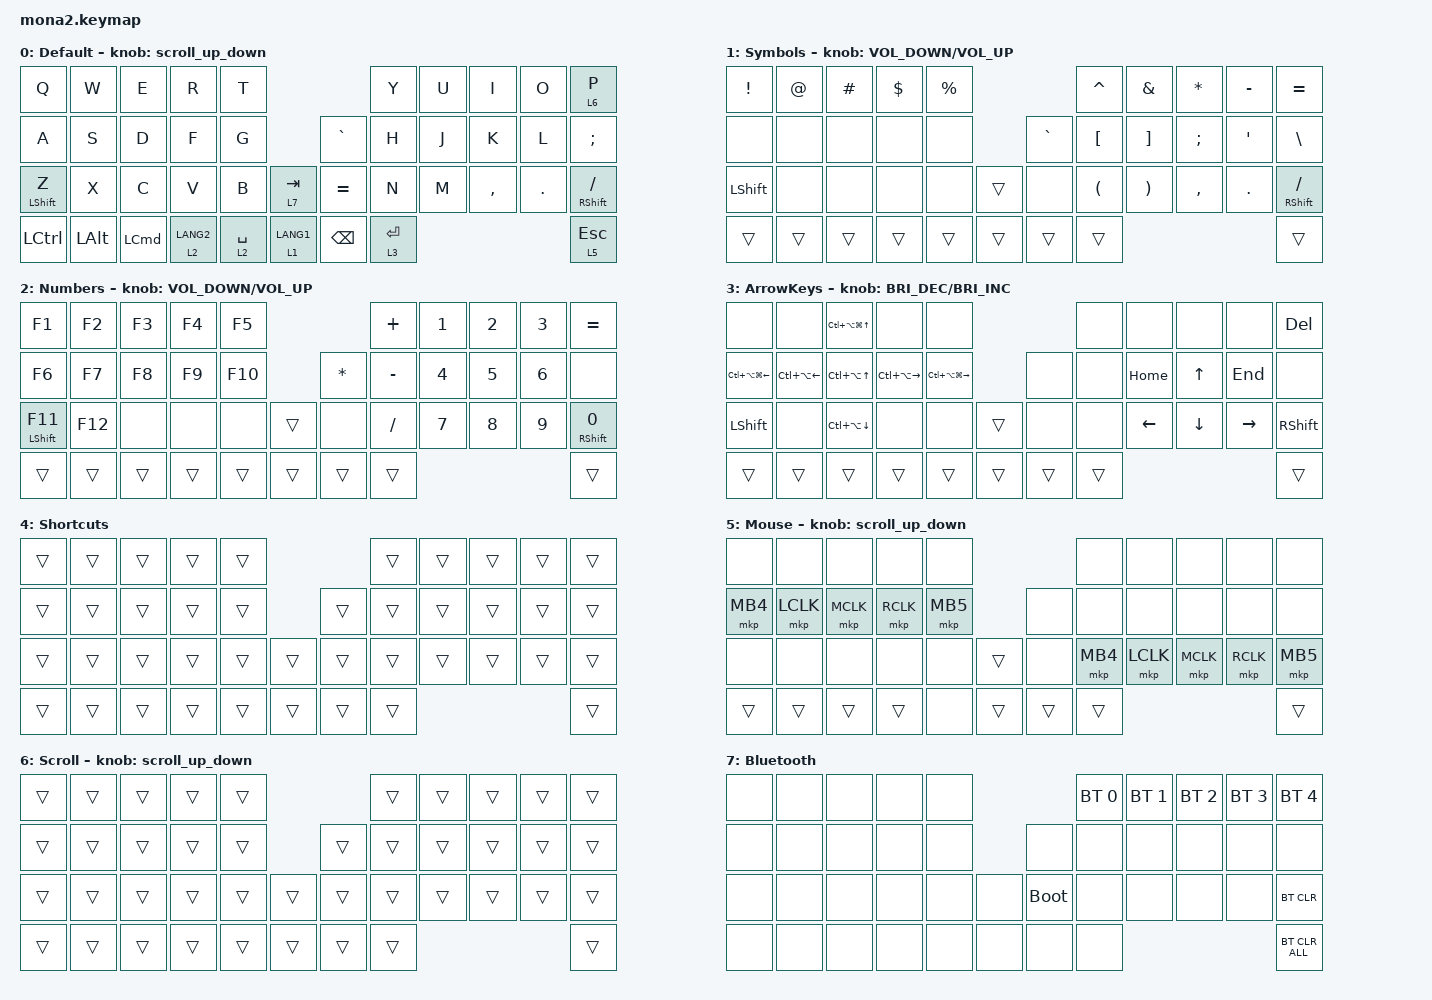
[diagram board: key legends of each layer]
#include <input/processors.dtsi>
#include <dt-bindings/zmk/input_transform.h>
#include <zephyr/dt-bindings/input/input-event-codes.h>
#include <behaviors.dtsi>
#include <dt-bindings/zmk/bt.h>
#include <dt-bindings/zmk/keys.h>
#include <dt-bindings/zmk/pointing.h>

#define ZMK_POINTING_DEFAULT_SCRL_VAL 100
#define MOUSE 5
#define SCROLL 6

&mt {
    flavor = "balanced";
    quick-tap-ms = <0>;
};

&lt {
    quick-tap-ms = <300>;
    flavor = "balanced";
};

// Auto Mouse Layer: トラックボール操作時に自動で Mouse レイヤーを有効化
&zip_temp_layer {
    excluded-positions = <
        10 11 12 13 14 // 左手 A,S,D,F,G → MB4, LCLK, MCLK, RCLK, MB5
        28 29 30 31 32 // 右手 N,M,COMMA,DOT,SLASH → MB4, LCLK, MCLK, RCLK, MB5
    >;
};

/ {
    combos { compatible = "zmk,combos"; };

    macros {
        to_layer_0: to_layer_0 {
            compatible = "zmk,behavior-macro-one-param";
            #binding-cells = <1>;
            bindings = <&to 0 &macro_param_1to1 &kp MACRO_PLACEHOLDER>;
            label = "TO_LAYER_0";
        };
    };

    behaviors {
        lt_to_layer_0: lt_to_layer_0 {
            compatible = "zmk,behavior-hold-tap";
            label = "LAYER_TAP_TO_0";
            bindings = <&mo>, <&to_layer_0>;

            #binding-cells = <2>;
            tapping-term-ms = <200>;
        };

        scroll_up_down: mouse_wheel_up_down {
            compatible = "zmk,behavior-sensor-rotate";
            #sensor-binding-cells = <0>;
            bindings = <&msc SCRL_DOWN>, <&msc SCRL_UP>;

            tap-ms = <20>;
        };

        scroll_right_left: mouse_wheel_right_left {
            compatible = "zmk,behavior-sensor-rotate";
            #sensor-binding-cells = <0>;
            bindings = <&msc SCRL_LEFT>, <&msc SCRL_RIGHT>;

            tap-ms = <20>;
        };
    };

    keymap {
        compatible = "zmk,keymap";

        Default {
            bindings = <
&kp Q             &kp W         &kp E             &kp R                   &kp T                                                            &kp Y        &kp U  &kp I      &kp O    &lt 6 P
&kp A             &kp S         &kp D             &kp F                   &kp G                                             &kp GRAVE      &kp H        &kp J  &kp K      &kp L    &kp SEMICOLON
&mt LEFT_SHIFT Z  &kp X         &kp C             &kp V                   &kp B                   &lt 7 TAB                 &kp EQUAL      &kp N        &kp M  &kp COMMA  &kp DOT  &mt RIGHT_SHIFT SLASH
&kp LCTRL         &kp LEFT_ALT  &kp LEFT_COMMAND  &lt_to_layer_0 2 LANG2  &lt_to_layer_0 2 SPACE  &lt_to_layer_0 1 LANG1    &kp BACKSPACE  &lt 3 ENTER                             &lt 5 ESCAPE
            >;

            sensor-bindings = <&scroll_up_down>;
        };

        Symbols {
            bindings = <
&kp EXCL    &kp AT  &kp HASH  &kp DLLR  &kp PRCNT                       &kp CARET  &kp AMPS  &kp ASTRK  &kp MINUS   &kp EQUAL
&none       &none   &none     &none     &none                &kp GRAVE  &kp LBKT   &kp RBKT  &kp SEMI   &kp SQT     &kp BSLH
&kp LSHIFT  &none   &none     &none     &none      &trans    &none      &kp LPAR   &kp RPAR  &kp COMMA  &kp PERIOD  &mt RIGHT_SHIFT FSLH
&trans      &trans  &trans    &trans    &trans     &trans    &trans     &trans                                      &trans
            >;

            sensor-bindings = <&inc_dec_kp C_VOLUME_DOWN C_VOL_UP>;
        };

        Numbers {
            bindings = <
&kp F1          &kp F2   &kp F3  &kp F4  &kp F5                        &kp PLUS   &kp N1  &kp N2  &kp N3  &kp EQUAL
&kp F6          &kp F7   &kp F8  &kp F9  &kp F10            &kp ASTRK  &kp MINUS  &kp N4  &kp N5  &kp N6  &none
&mt LSHIFT F11  &kp F12  &none   &none   &none    &trans    &none      &kp FSLH   &kp N7  &kp N8  &kp N9  &mt RSHIFT N0
&trans          &trans   &trans  &trans  &trans   &trans    &trans     &trans                             &trans
            >;

            sensor-bindings = <&inc_dec_kp C_VOLUME_DOWN C_VOLUME_UP>;
        };

        ArrowKeys {
            bindings = <
&none                 &none             &kp LC(LA(LG(UP)))  &none              &none                                    &none   &none           &none           &none            &kp DEL
&kp LC(LA(LG(LEFT)))  &kp LC(LA(LEFT))  &kp LC(LA(UP))      &kp LC(LA(RIGHT))  &kp LC(LA(LG(RIGHT)))            &none   &none   &kp HOME        &kp UP_ARROW    &kp END          &none
&kp LSHIFT            &none             &kp LC(LA(DOWN))    &none              &none                  &trans    &none   &none   &kp LEFT_ARROW  &kp DOWN_ARROW  &kp RIGHT_ARROW  &kp RSHIFT
&trans                &trans            &trans              &trans             &trans                 &trans    &trans  &trans                                                   &trans
            >;

            sensor-bindings = <&inc_dec_kp C_BRI_DEC C_BRI_INC>;
        };

        Shortcuts {
            bindings = <
&trans  &trans  &trans  &trans  &trans                    &trans  &trans  &trans  &trans  &trans
&trans  &trans  &trans  &trans  &trans            &trans  &trans  &trans  &trans  &trans  &trans
&trans  &trans  &trans  &trans  &trans  &trans    &trans  &trans  &trans  &trans  &trans  &trans
&trans  &trans  &trans  &trans  &trans  &trans    &trans  &trans                          &trans
            >;
        };

        Mouse {
            bindings = <
&none     &none      &none      &none      &none                       &none     &none      &none      &none      &none
&mkp MB4  &mkp LCLK  &mkp MCLK  &mkp RCLK  &mkp MB5            &none   &none     &none      &none      &none      &none
&none     &none      &none      &none      &none     &trans    &none   &mkp MB4  &mkp LCLK  &mkp MCLK  &mkp RCLK  &mkp MB5
&trans    &trans     &trans     &trans     &none     &trans    &trans  &trans                                     &trans
            >;

            sensor-bindings = <&scroll_up_down>;
        };

        Scroll {
            bindings = <
&trans  &trans  &trans  &trans  &trans                    &trans  &trans  &trans  &trans  &trans
&trans  &trans  &trans  &trans  &trans            &trans  &trans  &trans  &trans  &trans  &trans
&trans  &trans  &trans  &trans  &trans  &trans    &trans  &trans  &trans  &trans  &trans  &trans
&trans  &trans  &trans  &trans  &trans  &trans    &trans  &trans                          &trans
            >;

            sensor-bindings = <&scroll_up_down>;
        };

        Bluetooth {
            bindings = <
&none  &none  &none  &none  &none                        &bt BT_SEL 0  &bt BT_SEL 1  &bt BT_SEL 2  &bt BT_SEL 3  &bt BT_SEL 4
&none  &none  &none  &none  &none           &none        &none         &none         &none         &none         &none
&none  &none  &none  &none  &none  &none    &bootloader  &none         &none         &none         &none         &bt BT_CLR
&none  &none  &none  &none  &none  &none    &none        &none                                                   &bt BT_CLR_ALL
            >;
        };
    };
};
